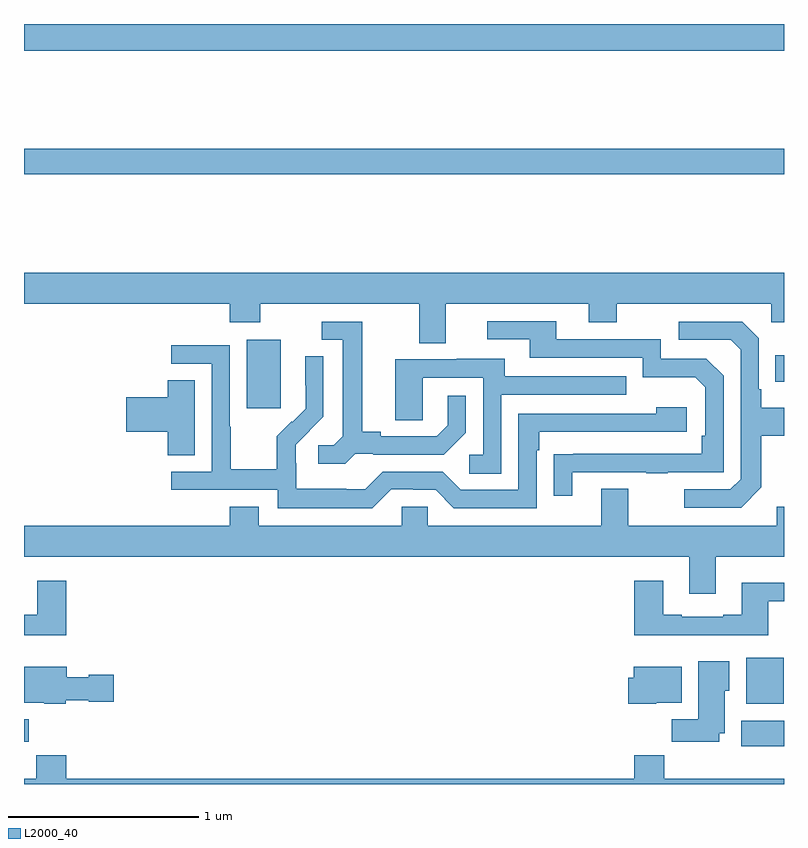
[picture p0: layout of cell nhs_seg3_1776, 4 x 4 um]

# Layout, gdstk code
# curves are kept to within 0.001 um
import gdstk
lib = gdstk.Library(unit=1e-6, precision=1e-09)
def R(c, l, rs):  # rectangles x0, y0, x1, y1
    for r in rs: c.add(gdstk.rectangle(r[:2], r[2:], *l))
def P(c, l, *ps):  # polygons
    for p in ps: c.add(gdstk.Polygon(p, *l))
L2000_40 = (2000, 40)

nhs_seg3_1776 = lib.new_cell('nhs_seg3_1776')
R(nhs_seg3_1776, L2000_40, [(206.774,686.6,207,686.734), (203,686.622,203.024,686.74), (206.801,686.822,206.998,687.064), (204.173,688.377,204.352,688.738), (206.953,688.517,207,688.657), (203,689.608,207,689.744), (203,690.26,207,690.4)])
P(nhs_seg3_1776, L2000_40, [(205.219,688.928),(205.973,688.928),(205.973,688.829),(206.121,688.829),(206.121,688.928),(206.934,688.928),(206.934,688.829),(207,688.829),(207,689.092),(203,689.092),(203,688.928),(204.083,688.928),(204.083,688.829),(204.243,688.829),(204.243,688.928),(205.079,688.928),(205.079,688.72),(205.219,688.72)],
  [(205.885,688.041),(206.275,688.041),(206.275,688.036),(206.387,688.036),(206.387,688.041),(206.682,688.041),(206.682,688.548),(206.592,688.638),(206.352,688.638),(206.352,688.74),(205.801,688.74),(205.801,688.836),(205.437,688.836),(205.437,688.74),(205.661,688.74),(205.661,688.644),(206.256,688.644),(206.256,688.541),(206.533,688.541),(206.586,688.488),(206.586,688.234),(206.566,688.234),(206.566,688.137),(205.789,688.136),(205.789,687.918),(205.885,687.918)],
  [(206.881,687.961),(206.881,688.234),(207,688.234),(207,688.381),(206.881,688.381),(206.881,688.477),(206.868,688.477),(206.868,688.746),(206.781,688.833),(206.445,688.833),(206.445,688.737),(206.721,688.737),(206.772,688.686),(206.772,688.005),(206.718,687.951),(206.475,687.951),(206.475,687.855),(206.775,687.855)],
  [(204.744,688.137),(204.838,688.137),(204.838,688.134),(205.21,688.134),(205.326,688.25),(205.326,688.444),(205.229,688.444),(205.229,688.287),(205.172,688.23),(204.877,688.23),(204.877,688.253),(204.781,688.253),(204.781,688.833),(204.567,688.833),(204.567,688.737),(204.677,688.737),(204.677,688.229),(204.63,688.182),(204.549,688.182),(204.549,688.085),(204.692,688.085)],
  [(204.933,687.951),(205.049,687.951),(205.049,687.948),(205.167,687.948),(205.263,687.852),(205.698,687.852),(205.698,688.157),(205.711,688.157),(205.711,688.254),(206.488,688.254),(206.488,688.384),(206.327,688.384),(206.327,688.35),(205.602,688.35),(205.602,687.948),(205.299,687.948),(205.203,688.044),(204.888,688.044),(204.795,687.951),(204.695,687.951),(204.695,687.955),(204.432,687.955),(204.432,688.089),(204.43,688.089),(204.43,688.186),(204.576,688.334),(204.576,688.652),(204.48,688.652),(204.48,688.498),(204.482,688.498),(204.482,688.376),(204.411,688.305),(204.408,688.308),(204.331,688.231),(204.331,688.057),(204.087,688.057),(204.087,688.28),(204.084,688.28),(204.084,688.71),(203.775,688.71),(203.775,688.611),(203.988,688.611),(203.988,688.044),(203.775,688.044),(203.775,687.948),(204.336,687.948),(204.336,687.851),(204.833,687.851)],
  [(205.512,688.449),(206.171,688.449),(206.171,688.545),(205.531,688.545),(205.531,688.639),(205.277,688.639),(205.277,688.635),(204.953,688.635),(204.953,688.315),(205.098,688.315),(205.098,688.539),(205.416,688.539),(205.416,688.134),(205.344,688.134),(205.344,688.033),(205.512,688.033)],
  [(203.899,688.526),(203.756,688.526),(203.756,688.436),(203.538,688.436),(203.538,688.253),(203.756,688.253),(203.756,688.129),(203.899,688.129)],
  [(206.641,687.596),(207,687.596),(207,687.859),(206.963,687.859),(206.963,687.76),(206.179,687.76),(206.179,687.955),(206.039,687.955),(206.039,687.76),(205.125,687.76),(205.125,687.858),(204.987,687.858),(204.987,687.76),(204.235,687.76),(204.235,687.859),(204.083,687.859),(204.083,687.76),(203,687.76),(203,687.596),(206.501,687.596),(206.501,687.402),(206.641,687.402)],
  [(203.222,687.469),(203.069,687.469),(203.069,687.292),(203,687.292),(203,687.182),(203.222,687.182)],
  [(206.917,687.363),(207,687.363),(207,687.46),(206.777,687.46),(206.777,687.292),(206.681,687.292),(206.681,687.279),(206.461,687.279),(206.461,687.292),(206.365,687.292),(206.365,687.469),(206.213,687.469),(206.213,687.182),(206.917,687.182)],
  [(206.659,686.666),(206.689,686.666),(206.689,686.892),(206.713,686.892),(206.713,687.046),(206.549,687.046),(206.549,686.74),(206.41,686.74),(206.41,686.622),(206.659,686.622)],
  [(206.328,686.828),(206.461,686.828),(206.461,687.016),(206.21,687.016),(206.21,686.958),(206.18,686.958),(206.18,686.822),(206.328,686.822)],
  [(203.22,686.84),(203.34,686.84),(203.34,686.833),(203.473,686.833),(203.473,686.975),(203.34,686.975),(203.34,686.962),(203.224,686.962),(203.224,687.016),(203,687.016),(203,686.828),(203.106,686.828),(203.106,686.822),(203.22,686.822)],
  [(207,686.428),(206.369,686.428),(206.369,686.552),(206.213,686.552),(206.213,686.428),(203.222,686.428),(203.222,686.552),(203.065,686.552),(203.065,686.428),(203,686.428),(203,686.4),(207,686.4)])

lib.write_gds('nhs_seg3_1776.gds')
